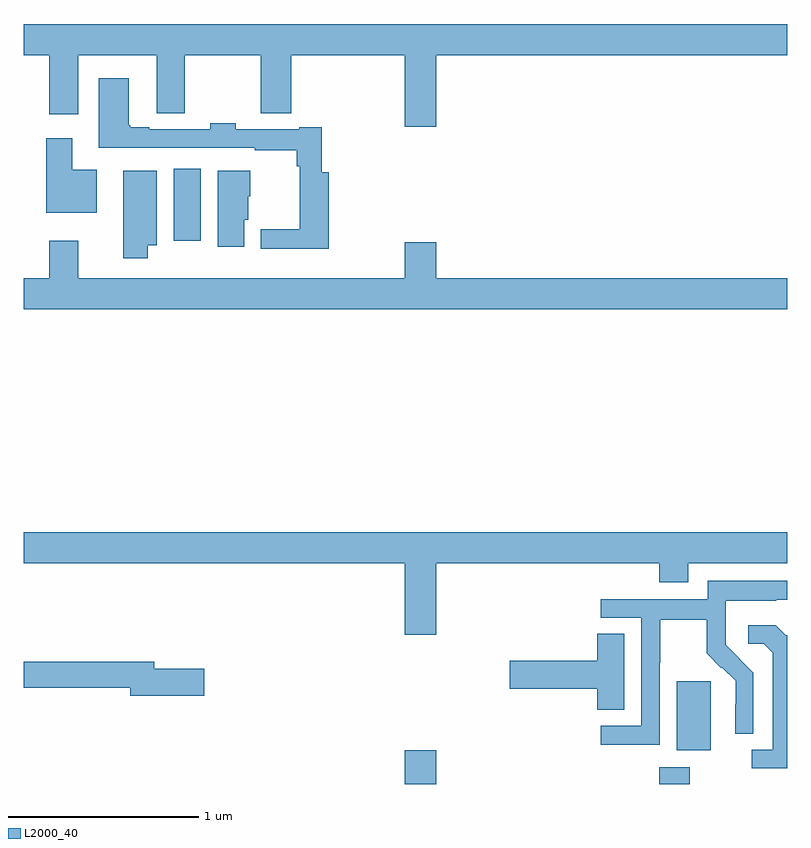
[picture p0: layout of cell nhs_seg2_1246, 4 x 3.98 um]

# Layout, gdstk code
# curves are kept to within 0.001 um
import gdstk
lib = gdstk.Library(unit=1e-6, precision=1e-09)
def R(c, l, rs):  # rectangles x0, y0, x1, y1
    for r in rs: c.add(gdstk.rectangle(r[:2], r[2:], *l))
def P(c, l, *ps):  # polygons
    for p in ps: c.add(gdstk.Polygon(p, *l))
L2000_40 = (2000, 40)

nhs_seg2_1246 = lib.new_cell('nhs_seg2_1246')
R(nhs_seg2_1246, L2000_40, [(176.996,659.8,177.16,659.977), (178.331,659.8,178.491,659.887), (178.421,659.978,178.6,660.339), (175.784,662.649,175.927,663.025)])
P(nhs_seg2_1246, L2000_40, [(177.16,663.62),(179,663.62),(179,663.784),(175,663.784),(175,663.62),(175.133,663.62),(175.133,663.312),(175.285,663.312),(175.285,663.62),(175.697,663.62),(175.697,663.316),(175.844,663.316),(175.844,663.62),(176.242,663.62),(176.242,663.316),(176.402,663.316),(176.402,663.62),(176.996,663.62),(176.996,663.246),(177.16,663.246)],
  [(176.597,663.007),(176.56,663.007),(176.56,663.244),(176.444,663.244),(176.444,663.231),(176.109,663.231),(176.109,663.264),(175.977,663.264),(175.977,663.231),(175.657,663.231),(175.657,663.244),(175.557,663.244),(175.557,663.252),(175.549,663.252),(175.549,663.499),(175.391,663.499),(175.391,663.135),(176.209,663.135),(176.209,663.123),(176.431,663.123),(176.431,663.038),(176.446,663.038),(176.446,662.708),(176.241,662.708),(176.241,662.606),(176.597,662.606)],
  [(175.381,663.019),(175.252,663.019),(175.252,663.184),(175.118,663.184),(175.118,662.795),(175.381,662.795)],
  [(175.65,662.624),(175.696,662.624),(175.696,663.016),(175.52,663.016),(175.52,662.556),(175.65,662.556)],
  [(176.155,662.757),(176.176,662.757),(176.176,662.88),(176.185,662.88),(176.185,663.016),(176.015,663.016),(176.015,662.616),(176.155,662.616)],
  [(179,662.452),(177.16,662.452),(177.16,662.641),(176.996,662.641),(176.996,662.452),(175.285,662.452),(175.285,662.647),(175.133,662.647),(175.133,662.452),(175,662.452),(175,662.288),(179,662.288)],
  [(177.16,660.956),(178.331,660.956),(178.331,660.857),(178.483,660.857),(178.483,660.956),(179,660.956),(179,661.12),(175,661.12),(175,660.956),(176.996,660.956),(176.996,660.582),(177.16,660.582)],
  [(178.332,660.436),(178.335,660.436),(178.335,660.66),(178.579,660.66),(178.579,660.485),(178.656,660.408),(178.659,660.411),(178.73,660.341),(178.73,660.218),(178.728,660.218),(178.728,660.064),(178.824,660.064),(178.824,660.382),(178.678,660.53),(178.678,660.627),(178.68,660.627),(178.68,660.761),(178.943,660.761),(178.943,660.765),(179,660.765),(179,660.865),(178.584,660.865),(178.584,660.768),(178.023,660.768),(178.023,660.672),(178.236,660.672),(178.236,660.105),(178.023,660.105),(178.023,660.007),(178.332,660.007)],
  [(179,660.579),(178.992,660.579),(178.94,660.631),(178.797,660.631),(178.797,660.534),(178.878,660.534),(178.925,660.487),(178.925,659.979),(178.815,659.979),(178.815,659.883),(179,659.883)],
  [(178.147,660.587),(178.004,660.587),(178.004,660.446),(177.546,660.446),(177.546,660.299),(178.004,660.299),(178.004,660.19),(178.147,660.19)],
  [(175.945,660.404),(175.684,660.404),(175.684,660.44),(175,660.44),(175,660.304),(175.556,660.304),(175.556,660.262),(175.945,660.262)])

lib.write_gds('nhs_seg2_1246.gds')
